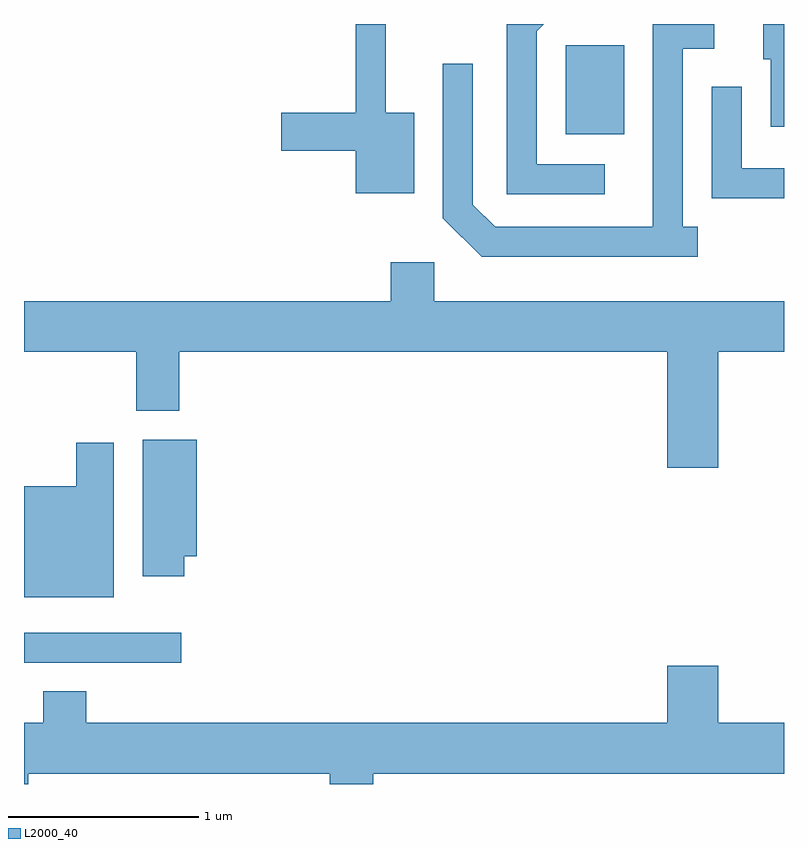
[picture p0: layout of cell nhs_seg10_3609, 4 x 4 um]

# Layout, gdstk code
import gdstk
lib = gdstk.Library(unit=1e-6, precision=1e-09)
def R(c, l, rs):  # rectangles x0, y0, x1, y1
    for r in rs: c.add(gdstk.rectangle(r[:2], r[2:], *l))
def P(c, l, *ps):  # polygons
    for p in ps: c.add(gdstk.Polygon(p, *l))
L2000_40 = (2000, 40)

nhs_seg10_3609 = lib.new_cell('nhs_seg10_3609')
R(nhs_seg10_3609, L2000_40, [(291.611,2121.161,292.438,2121.319), (294.461,2123.941,294.769,2124.409)])
P(nhs_seg10_3609, L2000_40, [(293.664,2124.054),(293.514,2124.054),(293.514,2124.522),(293.356,2124.522),(293.356,2124.054),(292.966,2124.054),(292.966,2123.856),(293.356,2123.856),(293.356,2123.631),(293.664,2123.631)],
  [(294.668,2123.784),(294.309,2123.784),(294.309,2124.484),(294.347,2124.522),(294.151,2124.522),(294.151,2123.626),(294.668,2123.626)],
  [(295.611,2124.522),(295.501,2124.522),(295.501,2124.336),(295.541,2124.336),(295.541,2123.981),(295.611,2123.981)],
  [(295.158,2123.454),(295.079,2123.454),(295.079,2124.391),(295.243,2124.391),(295.243,2124.522),(294.921,2124.522),(294.921,2123.454),(294.092,2123.454),(293.974,2123.572),(293.974,2124.313),(293.816,2124.313),(293.816,2123.499),(294.019,2123.296),(295.158,2123.296)],
  [(295.611,2123.764),(295.389,2123.764),(295.389,2124.193),(295.231,2124.193),(295.231,2123.606),(295.611,2123.606)],
  [(295.264,2122.796),(295.611,2122.796),(295.611,2123.064),(293.769,2123.064),(293.769,2123.269),(293.541,2123.269),(293.541,2123.064),(291.611,2123.064),(291.611,2122.796),(292.201,2122.796),(292.201,2122.486),(292.429,2122.486),(292.429,2122.796),(294.996,2122.796),(294.996,2122.186),(295.264,2122.186)],
  [(292.454,2121.721),(292.519,2121.721),(292.519,2122.334),(292.236,2122.334),(292.236,2121.616),(292.454,2121.616)],
  [(292.084,2122.319),(291.886,2122.319),(291.886,2122.089),(291.611,2122.089),(291.611,2121.506),(292.084,2121.506)],
  [(291.634,2120.576),(293.221,2120.576),(293.221,2120.522),(293.449,2120.522),(293.449,2120.576),(295.611,2120.576),(295.611,2120.844),(295.264,2120.844),(295.264,2121.144),(294.996,2121.144),(294.996,2120.844),(291.939,2120.844),(291.939,2121.009),(291.711,2121.009),(291.711,2120.844),(291.611,2120.844),(291.611,2120.522),(291.634,2120.522)])

lib.write_gds('nhs_seg10_3609.gds')
